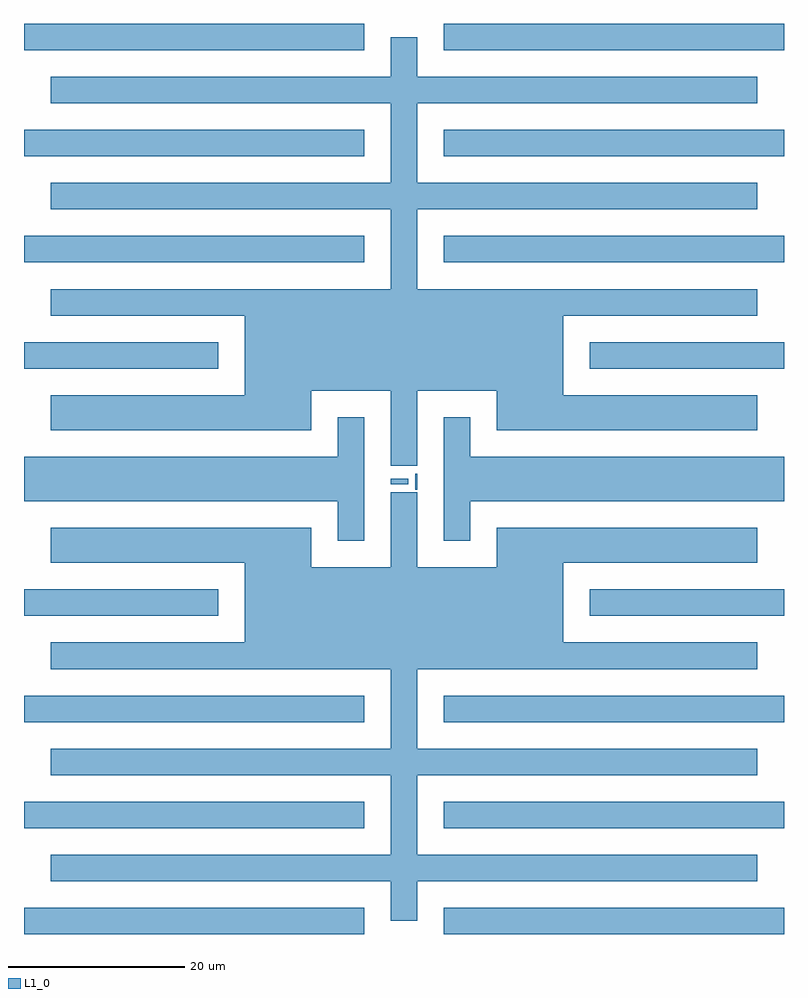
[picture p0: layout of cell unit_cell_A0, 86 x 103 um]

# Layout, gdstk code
from math import pi, radians
import gdstk
lib = gdstk.Library(unit=1e-6, precision=1e-09)
def R(c, l, rs):  # rectangles x0, y0, x1, y1
    for r in rs: c.add(gdstk.rectangle(r[:2], r[2:], *l))
def P(c, l, *ps):  # polygons
    for p in ps: c.add(gdstk.Polygon(p, *l))
L1_0 = (1, 0)

unnamed_178 = lib.new_cell('Unnamed_178')
P(unnamed_178, L1_0, [(38.5,0),(38.5,4.5),(0,4.5),(0,7.5),(38.5,7.5),(38.5,16.5),(0,16.5),(0,19.5),(38.5,19.5),(38.5,28.5),(0,28.5),(0,31.5),(22,31.5),(22,40.5),(0,40.5),(0,44.5),(29.5,44.5),(29.5,40),(38.5,40),(38.5,48.5),(40,48.5),(40,0)])

straight_l38p5_n2_csxs_e = lib.new_cell('straight_L38p5_N2_CSxs_e9659eb0')
R(straight_l38p5_n2_csxs_e, L1_0, [(0,-1.5,38.5,1.5)])

straight_array_n3_s9_l3_ = lib.new_cell('straight_array_N3_S9_L3_b91b2c6a')
straight_array_n3_s9_l3_.add(gdstk.Reference(straight_l38p5_n2_csxs_e, (0,0)))
straight_array_n3_s9_l3_.add(gdstk.Reference(straight_l38p5_n2_csxs_e, (0,12)))
straight_array_n3_s9_l3_.add(gdstk.Reference(straight_l38p5_n2_csxs_e, (0,24)))

straight_l22_n2_csxs_e96 = lib.new_cell('straight_L22_N2_CSxs_e9659eb0')
R(straight_l22_n2_csxs_e96, L1_0, [(0,-1.5,22,1.5)])

unnamed_175 = lib.new_cell('Unnamed_175')
unnamed_175.add(gdstk.Reference(straight_array_n3_s9_l3_, (-3,0)))
unnamed_175.add(gdstk.Reference(straight_l22_n2_csxs_e96, (-3,36)))

straight_l35p5_n2_csxs_3 = lib.new_cell('straight_L35p5_N2_CSxs_3e6774cf')
R(straight_l35p5_n2_csxs_3, L1_0, [(0,-2.5,35.5,2.5)])

triangle_x7_x2p5_y3_y3_l = lib.new_cell('triangle_X7_X2p5_Y3_Y3_L1_0')
R(triangle_x7_x2p5_y3_y3_l, L1_0, [(0,0,7,3)])

unnamed_176 = lib.new_cell('Unnamed_176')
unnamed_176.add(gdstk.Reference(straight_l35p5_n2_csxs_3, (-3,50)))
unnamed_176.add(gdstk.Reference(triangle_x7_x2p5_y3_y3_l, (35.5,50), rotation=3*pi/2, x_reflection=True))

unnamed_179 = lib.new_cell('Unnamed_179')
unnamed_179.add(gdstk.Reference(unnamed_178, (0,0)))
unnamed_179.add(gdstk.Reference(unnamed_175, (0,0)))
unnamed_179.add(gdstk.Reference(unnamed_176, (0,0)))

rectangle_s2_0p6_lwg_cf_ = lib.new_cell('rectangle_S2_0p6_LWG_CF_a6a46f17')
R(rectangle_s2_0p6_lwg_cf_, L1_0, [(0,0,2,0.6)])

rectangle_s0p2_1p2_lwg__ = lib.new_cell('rectangle_S0p2_1p2_LWG__107b6a9b')
R(rectangle_s0p2_1p2_lwg__, L1_0, [(0,0,0.2,1.2)])

unnamed_180 = lib.new_cell('Unnamed_180')
unnamed_180.add(gdstk.Reference(rectangle_s2_0p6_lwg_cf_, (0,-0.3)))
unnamed_180.add(gdstk.Reference(rectangle_s0p2_1p2_lwg__, (2.8,-0.9)))

unit_cell_a0 = lib.new_cell('unit_cell_A0')
unit_cell_a0.add(gdstk.Reference(unnamed_179, (0,0)))
unit_cell_a0.add(gdstk.Reference(unnamed_179, (80,0), rotation=pi, x_reflection=True))
unit_cell_a0.add(gdstk.Reference(unnamed_179, (0,100), x_reflection=True))
unit_cell_a0.add(gdstk.Reference(unnamed_179, (80,100), rotation=pi))
unit_cell_a0.add(gdstk.Reference(unnamed_180, (38.5,49.7)))
unit_cell_a0.add(gdstk.Reference(unnamed_180, (38.5,49.7), x_reflection=True))

lib.write_gds('unit_cell_A0.gds')
